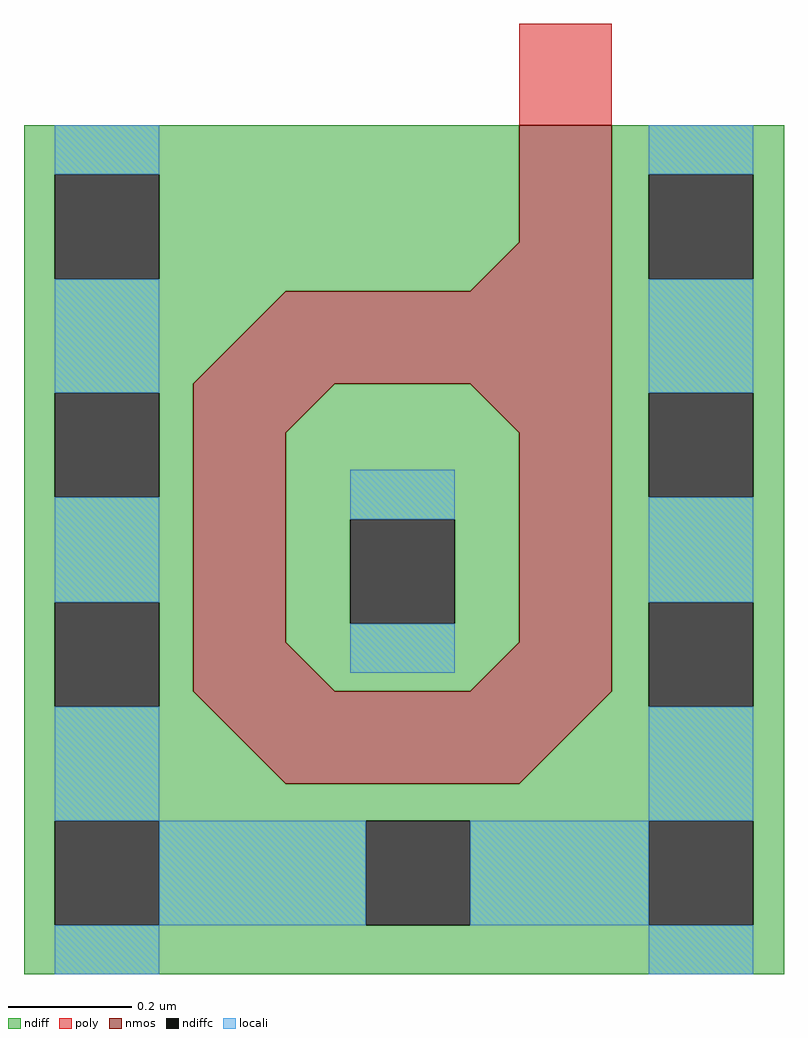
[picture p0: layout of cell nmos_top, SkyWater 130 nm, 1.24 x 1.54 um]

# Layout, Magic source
magic
tech sky130A
magscale 1 2
<< nmos >>
tri 144 222 160 238 se
rect 160 222 190 276
tri 54 192 84 222 se
rect 84 192 190 222
rect 54 92 84 192
tri 84 176 100 192 nw
tri 144 176 160 192 ne
tri 84 92 100 108 sw
tri 144 92 160 108 se
rect 160 92 190 192
tri 54 62 84 92 ne
rect 84 62 160 92
tri 160 62 190 92 nw
<< ndiff >>
rect -1 260 160 276
rect -1 226 9 260
rect 43 238 160 260
rect 43 226 144 238
rect -1 222 144 226
tri 144 222 160 238 nw
rect 190 260 246 276
rect 190 226 202 260
rect 236 226 246 260
rect -1 189 54 222
tri 54 192 84 222 nw
rect -1 155 9 189
rect 43 155 54 189
rect -1 121 54 155
rect -1 87 9 121
rect 43 87 54 121
tri 84 176 100 192 se
rect 100 176 144 192
tri 144 176 160 192 sw
rect 84 148 160 176
rect 84 114 105 148
rect 139 114 160 148
rect 84 108 160 114
tri 84 92 100 108 ne
rect 100 92 144 108
tri 144 92 160 108 nw
rect 190 189 246 226
rect 190 155 202 189
rect 236 155 246 189
rect 190 121 246 155
rect -1 62 54 87
tri 54 62 84 92 sw
tri 160 62 190 92 se
rect 190 87 202 121
rect 236 87 246 121
rect 190 62 246 87
rect -1 50 246 62
rect -1 16 9 50
rect 43 16 110 50
rect 144 16 202 50
rect 236 16 246 50
rect -1 0 246 16
<< ndiffc >>
rect 9 226 43 260
rect 202 226 236 260
rect 9 155 43 189
rect 9 87 43 121
rect 105 114 139 148
rect 202 155 236 189
rect 202 87 236 121
rect 9 16 43 50
rect 110 16 144 50
rect 202 16 236 50
<< poly >>
rect 160 276 190 309
<< locali >>
rect 9 260 43 276
rect 9 189 43 226
rect 202 260 236 276
rect 202 189 236 226
rect 9 121 43 155
rect 105 148 139 164
rect 105 98 139 114
rect 202 121 236 155
rect 9 50 43 87
rect 202 50 236 87
rect 43 16 110 50
rect 144 16 202 50
rect 9 0 43 16
rect 202 0 236 16
<< end >>
